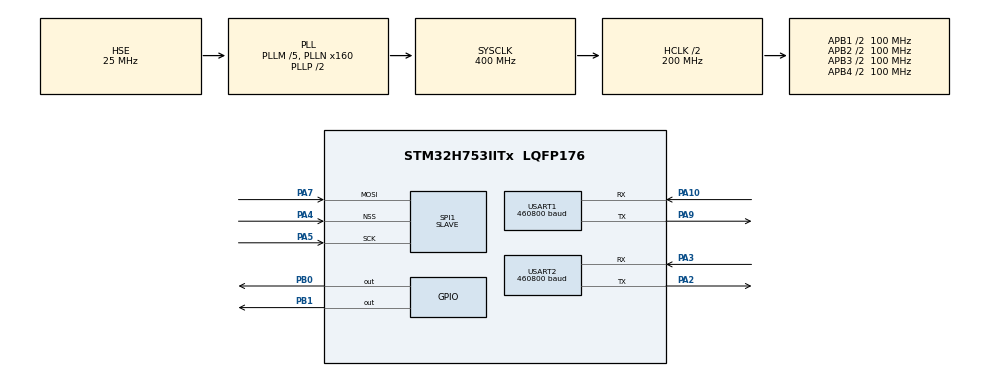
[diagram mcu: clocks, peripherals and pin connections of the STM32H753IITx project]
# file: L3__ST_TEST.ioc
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CORTEX_M7.AccessPermission_Spec=MPU_REGION_FULL_ACCESS
CORTEX_M7.BaseAddress_Spec=0x24000000
CORTEX_M7.CPU_DCache=Enabled
CORTEX_M7.CPU_ICache=Enabled
CORTEX_M7.IsShareable_Spec=MPU_ACCESS_NOT_SHAREABLE
CORTEX_M7.Size_Spec=MPU_REGION_SIZE_512KB
CORTEX_M7.SubRegionDisable_Spec=0x00
CORTEX_M7.TypeExtField_Spec=MPU_TEX_LEVEL1
CORTEX_M7.default_mode_Activation=1
Dma.Request0=USART2_RX
Dma.Request1=USART2_TX
Dma.Request2=USART1_RX
Dma.Request3=USART1_TX
Dma.Request4=SPI1_RX
Dma.SPI1_RX.4.Direction=DMA_PERIPH_TO_MEMORY
Dma.SPI1_RX.4.EventEnable=DISABLE
Dma.SPI1_RX.4.FIFOMode=DMA_FIFOMODE_DISABLE
Dma.SPI1_RX.4.Instance=DMA2_Stream0
Dma.SPI1_RX.4.MemDataAlignment=DMA_MDATAALIGN_BYTE
Dma.SPI1_RX.4.MemInc=DMA_MINC_ENABLE
Dma.SPI1_RX.4.Mode=DMA_NORMAL
Dma.SPI1_RX.4.PeriphDataAlignment=DMA_PDATAALIGN_BYTE
Dma.SPI1_RX.4.PeriphInc=DMA_PINC_DISABLE
Dma.SPI1_RX.4.Polarity=HAL_DMAMUX_REQ_GEN_RISING
Dma.SPI1_RX.4.Priority=DMA_PRIORITY_VERY_HIGH
Dma.SPI1_RX.4.RequestNumber=1
Dma.SPI1_RX.4.SignalID=NONE
Dma.SPI1_RX.4.SyncEnable=DISABLE
Dma.SPI1_RX.4.SyncPolarity=HAL_DMAMUX_SYNC_NO_EVENT
Dma.SPI1_RX.4.SyncRequestNumber=1
Dma.SPI1_RX.4.SyncSignalID=NONE
Dma.USART1_RX.2.Direction=DMA_PERIPH_TO_MEMORY
Dma.USART1_RX.2.EventEnable=DISABLE
Dma.USART1_RX.2.FIFOMode=DMA_FIFOMODE_DISABLE
Dma.USART1_RX.2.Instance=DMA1_Stream2
Dma.USART1_RX.2.MemDataAlignment=DMA_MDATAALIGN_BYTE
Dma.USART1_RX.2.MemInc=DMA_MINC_ENABLE
Dma.USART1_RX.2.Mode=DMA_NORMAL
Dma.USART1_RX.2.PeriphDataAlignment=DMA_PDATAALIGN_BYTE
Dma.USART1_RX.2.PeriphInc=DMA_PINC_DISABLE
Dma.USART1_RX.2.Polarity=HAL_DMAMUX_REQ_GEN_RISING
Dma.USART1_RX.2.Priority=DMA_PRIORITY_LOW
Dma.USART1_RX.2.RequestNumber=1
Dma.USART1_RX.2.SignalID=NONE
Dma.USART1_RX.2.SyncEnable=DISABLE
Dma.USART1_RX.2.SyncPolarity=HAL_DMAMUX_SYNC_NO_EVENT
Dma.USART1_RX.2.SyncRequestNumber=1
Dma.USART1_RX.2.SyncSignalID=NONE
Dma.USART1_TX.3.Direction=DMA_MEMORY_TO_PERIPH
Dma.USART1_TX.3.EventEnable=DISABLE
Dma.USART1_TX.3.FIFOMode=DMA_FIFOMODE_DISABLE
Dma.USART1_TX.3.Instance=DMA1_Stream3
Dma.USART1_TX.3.MemDataAlignment=DMA_MDATAALIGN_BYTE
Dma.USART1_TX.3.MemInc=DMA_MINC_ENABLE
Dma.USART1_TX.3.Mode=DMA_NORMAL
Dma.USART1_TX.3.PeriphDataAlignment=DMA_PDATAALIGN_BYTE
Dma.USART1_TX.3.PeriphInc=DMA_PINC_DISABLE
Dma.USART1_TX.3.Polarity=HAL_DMAMUX_REQ_GEN_RISING
Dma.USART1_TX.3.Priority=DMA_PRIORITY_LOW
Dma.USART1_TX.3.RequestNumber=1
Dma.USART1_TX.3.SignalID=NONE
Dma.USART1_TX.3.SyncEnable=DISABLE
Dma.USART1_TX.3.SyncPolarity=HAL_DMAMUX_SYNC_NO_EVENT
Dma.USART1_TX.3.SyncRequestNumber=1
Dma.USART1_TX.3.SyncSignalID=NONE
Dma.USART2_RX.0.Direction=DMA_PERIPH_TO_MEMORY
Dma.USART2_RX.0.EventEnable=DISABLE
Dma.USART2_RX.0.FIFOMode=DMA_FIFOMODE_DISABLE
Dma.USART2_RX.0.Instance=DMA1_Stream0
Dma.USART2_RX.0.MemDataAlignment=DMA_MDATAALIGN_BYTE
Dma.USART2_RX.0.MemInc=DMA_MINC_ENABLE
Dma.USART2_RX.0.Mode=DMA_NORMAL
Dma.USART2_RX.0.PeriphDataAlignment=DMA_PDATAALIGN_BYTE
Dma.USART2_RX.0.PeriphInc=DMA_PINC_DISABLE
Dma.USART2_RX.0.Polarity=HAL_DMAMUX_REQ_GEN_RISING
Dma.USART2_RX.0.Priority=DMA_PRIORITY_MEDIUM
Dma.USART2_RX.0.RequestNumber=1
Dma.USART2_RX.0.SignalID=NONE
Dma.USART2_RX.0.SyncEnable=DISABLE
Dma.USART2_RX.0.SyncPolarity=HAL_DMAMUX_SYNC_NO_EVENT
Dma.USART2_RX.0.SyncRequestNumber=1
Dma.USART2_RX.0.SyncSignalID=NONE
Dma.USART2_TX.1.Direction=DMA_MEMORY_TO_PERIPH
Dma.USART2_TX.1.EventEnable=DISABLE
Dma.USART2_TX.1.FIFOMode=DMA_FIFOMODE_DISABLE
Dma.USART2_TX.1.Instance=DMA1_Stream1
Dma.USART2_TX.1.MemDataAlignment=DMA_MDATAALIGN_BYTE
Dma.USART2_TX.1.MemInc=DMA_MINC_ENABLE
Dma.USART2_TX.1.Mode=DMA_NORMAL
Dma.USART2_TX.1.PeriphDataAlignment=DMA_PDATAALIGN_BYTE
Dma.USART2_TX.1.PeriphInc=DMA_PINC_DISABLE
Dma.USART2_TX.1.Polarity=HAL_DMAMUX_REQ_GEN_RISING
Dma.USART2_TX.1.Priority=DMA_PRIORITY_LOW
Dma.USART2_TX.1.RequestNumber=1
Dma.USART2_TX.1.SignalID=NONE
Dma.USART2_TX.1.SyncEnable=DISABLE
Dma.USART2_TX.1.SyncPolarity=HAL_DMAMUX_SYNC_NO_EVENT
Dma.USART2_TX.1.SyncRequestNumber=1
Dma.USART2_TX.1.SyncSignalID=NONE
FREERTOS.BinarySemaphores01=APP_Info_Submit_Semp,Dynamic,NULL
FREERTOS.Events01=Device_Run_status_event,Dynamic,NULL;Device_unusual_status_event,Dynamic,NULL
FREERTOS.INCLUDE_xEventGroupSetBitFromISR=1
FREERTOS.Queues01=usart2_send_semp_queue,15,uint16_t,0,Dynamic,NULL,NULL;usart2_recv_semp_queue,15,uint16_t,0,Dynamic,NULL,NULL;usart1_recv_semp_queue,15,uint16_t,0,Dynamic,NULL,NULL;usart1_send_semp_queue,15,uint16_t,0,Dynamic,NULL,NULL;HTTP_REQUEST_queue,16,uint16_t,0,Dynamic,NULL,NULL;SPI1_recv_semp_queue,15,uint16_t,0,Dynamic,NULL,NULL
FREERTOS.Tasks01=defaultTask,8,128,StartDefaultTask,Default,NULL,Dynamic,NULL,NULL;EC600U_REC,16,512,EC600U_REC_task,Default,NULL,Dynamic,NULL,NULL;APP_Info_Submit,8,512,APP_Info_Submit_task,Default,NULL,Dynamic,NULL,NULL;Device_Run,8,128,Device_Run_task,Default,NULL,Dynamic,NULL,NULL;EC600U_SEND,8,128,EC600U_SEND_task,Default,NULL,Dynamic,NULL,NULL;HTTP_REQUEST,24,256,HTTP_REQUEST_task,Default,NULL,Dynamic,NULL,NULL;Device_unusual,48,128,Device_unusual_task,Default,NULL,Dynamic,NULL,NULL;Power_Check,8,128,Power_Check_task,Default,NULL,Dynamic,NULL,NULL;GPS_REC,24,128,GPS_REC_task,Default,NULL,Dynamic,NULL,NULL;VCU_send,8,128,VCU_send_task,Default,NULL,Dynamic,NULL,NULL;VCU_REC,8,128,VCU_REC_task,Default,NULL,Dynamic,NULL,NULL
FREERTOS.configTOTAL_HEAP_SIZE=25600
FREERTOS.configUSE_OS2_MUTEX=1
FREERTOS.configUSE_OS2_TIMER=1
Mcu.Family=STM32H7
Mcu.Name=STM32H753IITx
Mcu.Package=LQFP176
NVIC.DMA1_Stream1_IRQn=true\:6\:0\:true\:false\:true\:true\:false\:true\:true
NVIC.DMA1_Stream3_IRQn=true\:6\:0\:true\:false\:true\:true\:true\:true\:true
NVIC.DMA2_Stream0_IRQn=true\:5\:0\:false\:false\:true\:true\:true\:true\:true
NVIC.PriorityGroup=NVIC_PRIORITYGROUP_4
NVIC.SPI1_IRQn=true\:5\:0\:true\:false\:true\:true\:true\:true\:true
NVIC.TIM6_DAC_IRQn=true\:14\:0\:true\:false\:true\:true\:true\:true\:true
NVIC.TIM7_IRQn=true\:15\:0\:false\:false\:true\:false\:false\:true\:true
NVIC.TimeBase=TIM7_IRQn
NVIC.TimeBaseIP=TIM7
NVIC.USART1_IRQn=true\:8\:0\:true\:false\:true\:true\:true\:true\:true
NVIC.USART2_IRQn=true\:8\:0\:true\:false\:true\:true\:true\:true\:true
PA10.GPIO_Speed=GPIO_SPEED_FREQ_VERY_HIGH
PA10.Mode=Asynchronous
PA10.Signal=USART1_RX
PA13\ (JTMS/SWDIO).Mode=Serial_Wire
PA13\ (JTMS/SWDIO).Signal=DEBUG_JTMS-SWDIO
PA14\ (JTCK/SWCLK).Mode=Serial_Wire
PA14\ (JTCK/SWCLK).Signal=DEBUG_JTCK-SWCLK
PA2.GPIO_Speed=GPIO_SPEED_FREQ_VERY_HIGH
PA2.Mode=Asynchronous
PA2.Signal=USART2_TX
PA3.GPIO_Speed=GPIO_SPEED_FREQ_VERY_HIGH
PA3.Mode=Asynchronous
PA3.Signal=USART2_RX
PA4.GPIO_Speed=GPIO_SPEED_FREQ_LOW
PA4.Mode=NSS_Signal_Hard_Input
PA4.Signal=SPI1_NSS
PA5.GPIO_Speed=GPIO_SPEED_FREQ_VERY_HIGH
PA5.Mode=RX_Only_Simplex_Unidirect_Slave
PA5.Signal=SPI1_SCK
PA7.GPIO_Speed=GPIO_SPEED_FREQ_VERY_HIGH
PA7.Mode=RX_Only_Simplex_Unidirect_Slave
PA7.Signal=SPI1_MOSI
PA9.GPIO_Speed=GPIO_SPEED_FREQ_VERY_HIGH
PA9.Mode=Asynchronous
PA9.Signal=USART1_TX
PB0.Signal=GPIO_Output
PB1.Signal=GPIO_Output
PC14-OSC32_IN\ (OSC32_IN).Mode=LSE-External-Oscillator
PC14-OSC32_IN\ (OSC32_IN).Signal=RCC_OSC32_IN
PC15-OSC32_OUT\ (OSC32_OUT).Mode=LSE-External-Oscillator
PC15-OSC32_OUT\ (OSC32_OUT).Signal=RCC_OSC32_OUT
PH0-OSC_IN\ (PH0).Mode=HSE-External-Oscillator
PH0-OSC_IN\ (PH0).Signal=RCC_OSC_IN
PH1-OSC_OUT\ (PH1).Mode=HSE-External-Oscillator
PH1-OSC_OUT\ (PH1).Signal=RCC_OSC_OUT
ProjectManager.HeapSize=0xC00
ProjectManager.StackSize=0x800
ProjectManager.TargetToolchain=MDK-ARM V5.32
RCC.ADCFreq_Value=50390625
RCC.APB1Freq_Value=100000000
RCC.APB2Freq_Value=100000000
RCC.APB3Freq_Value=100000000
RCC.APB4Freq_Value=100000000
RCC.CortexFreq_Value=400000000
RCC.D1PPRE=RCC_APB3_DIV2
RCC.D2PPRE1=RCC_APB1_DIV2
RCC.D2PPRE2=RCC_APB2_DIV2
RCC.D3PPRE=RCC_APB4_DIV2
RCC.DIVM1=5
RCC.DIVN1=160
RCC.DIVQ1=32
RCC.HCLKFreq_Value=200000000
RCC.HPRE=RCC_HCLK_DIV2
RCC.PLLSourceVirtual=RCC_PLLSOURCE_HSE
RCC.SYSCLKFreq_VALUE=400000000
RCC.SYSCLKSource=RCC_SYSCLKSOURCE_PLLCLK
RCC.USBFreq_Value=25000000
SPI1.DataSize=SPI_DATASIZE_8BIT
SPI1.Direction=SPI_DIRECTION_2LINES_RXONLY
SPI1.FifoThreshold=SPI_FIFO_THRESHOLD_16DATA
SPI1.Mode=SPI_MODE_SLAVE
SPI1.NSSPolarity=SPI_NSS_POLARITY_LOW
SPI1.TIMode=SPI_TIMODE_DISABLE
SPI1.VirtualNSS=VM_NSSHARD
SPI1.VirtualType=VM_SLAVE
TIM6.AutoReloadPreload=TIM_AUTORELOAD_PRELOAD_ENABLE
TIM6.Period=5000-1
TIM6.Prescaler=40000-1
USART1.BaudRate=460800
USART1.VirtualMode-Asynchronous=VM_ASYNC
USART2.BaudRate=460800
USART2.VirtualMode-Asynchronous=VM_ASYNC
VP_FREERTOS_VS_CMSIS_V2.Mode=CMSIS_V2
VP_SYS_VS_tim7.Mode=TIM7
VP_TIM6_VS_ClockSourceINT.Mode=Enable_Timer
board=custom

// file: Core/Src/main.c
/* USER CODE BEGIN Header */
/**
  ******************************************************************************
  * @file           : main.c
  * @brief          : Main program body
  ******************************************************************************
  * @attention
  *
  * Copyright (c) 2024 STMicroelectronics.
  * All rights reserved.
  *
  * This software is licensed under terms that can be found in the LICENSE file
  * in the root directory of this software component.
  * If no LICENSE file comes with this software, it is provided AS-IS.
  *
  ******************************************************************************
  */
/* USER CODE END Header */
#include "main.h"
#include "cmsis_os.h"
#include "dma.h"
#include "spi.h"
#include "tim.h"
#include "usart.h"
#include "gpio.h"

/* USER CODE BEGIN Includes */

#include "EventRecorder.h"
#include <stdio.h>
#include <string.h>
#include <stdlib.h>

#include "WGS84ToAngle.h"
#include "pid.h"
/* USER CODE END Includes */

void SystemClock_Config(void);
static void MPU_Config(void);
void MX_FREERTOS_Init(void);
/* USER CODE BEGIN PFP */
extern osSemaphoreId_t APP_Info_Submit_SempHandle;
extern PID_TypeDef PID_angle_control;
/* USER CODE END PFP */

int main(void)
{

  /* MPU Configuration--------------------------------------------------------*/
  MPU_Config();
/* Enable the CPU Cache */

  /* Enable I-Cache---------------------------------------------------------*/
  SCB_EnableICache();

  /* Enable D-Cache---------------------------------------------------------*/
  SCB_EnableDCache();

  /* MCU Configuration--------------------------------------------------------*/

  /* Reset of all peripherals, Initializes the Flash interface and the Systick. */
  HAL_Init();

  /* Configure the system clock */
  SystemClock_Config();

  /* USER CODE BEGIN SysInit */

	/*初始化EventRecoder*/
	EventRecorderInitialize(EventRecordAll, 1U);
	EventRecorderStart();

	/*初始化cjson的内存分配函数 使用json一定要初始化*/
	cJSON_InitHooks(&my_cJSON_Hooks);

	/*初始化geidesic库系数*/
	geod_init(&g, wgs84_a, wgs84_f);

	/*初始化PID*/
	PID_Init(&PID_angle_control);
  /* USER CODE END SysInit */

  /* Initialize all configured peripherals */
  MX_GPIO_Init();
  MX_DMA_Init();
  MX_USART2_UART_Init();
  MX_TIM6_Init();
  MX_USART1_UART_Init();
  MX_SPI1_Init();
  /* USER CODE BEGIN 2 */
	printf("此版本为RTK_L3测试\r\n");
	printf("目前进行到开机RTK_L1开机测试\r\n");
	printf("此处打印为了告知信息和启动EventREcoder打印调试\r\n");
	printf("接下来开始");
  /* USER CODE END 2 */

  /* Init scheduler */
  osKernelInitialize();

  /* Call init function for freertos objects (in freertos.c) */
  MX_FREERTOS_Init();

  /* Start scheduler */
  osKernelStart();

  /* We should never get here as control is now taken by the scheduler */
  /* Infinite loop */
  while (1)
  {

  }
}

void SystemClock_Config(void)
{
  RCC_OscInitTypeDef RCC_OscInitStruct = {0};
  RCC_ClkInitTypeDef RCC_ClkInitStruct = {0};

  /** Supply configuration update enable
  */
  HAL_PWREx_ConfigSupply(PWR_LDO_SUPPLY);

  /** Configure the main internal regulator output voltage
  */
  __HAL_PWR_VOLTAGESCALING_CONFIG(PWR_REGULATOR_VOLTAGE_SCALE1);

  while(!__HAL_PWR_GET_FLAG(PWR_FLAG_VOSRDY)) {}

  /** Initializes the RCC Oscillators according to the specified parameters
  * in the RCC_OscInitTypeDef structure.
  */
  RCC_OscInitStruct.OscillatorType = RCC_OSCILLATORTYPE_HSE;
  RCC_OscInitStruct.HSEState = RCC_HSE_ON;
  RCC_OscInitStruct.PLL.PLLState = RCC_PLL_ON;
  RCC_OscInitStruct.PLL.PLLSource = RCC_PLLSOURCE_HSE;
  RCC_OscInitStruct.PLL.PLLM = 5;
  RCC_OscInitStruct.PLL.PLLN = 160;
  RCC_OscInitStruct.PLL.PLLP = 2;
  RCC_OscInitStruct.PLL.PLLQ = 32;
  RCC_OscInitStruct.PLL.PLLR = 2;
  RCC_OscInitStruct.PLL.PLLRGE = RCC_PLL1VCIRANGE_2;
  RCC_OscInitStruct.PLL.PLLVCOSEL = RCC_PLL1VCOWIDE;
  RCC_OscInitStruct.PLL.PLLFRACN = 0;
  if (HAL_RCC_OscConfig(&RCC_OscInitStruct) != HAL_OK)
  {
    Error_Handler();
  }

  /** Initializes the CPU, AHB and APB buses clocks
  */
  RCC_ClkInitStruct.ClockType = RCC_CLOCKTYPE_HCLK|RCC_CLOCKTYPE_SYSCLK
                              |RCC_CLOCKTYPE_PCLK1|RCC_CLOCKTYPE_PCLK2
                              |RCC_CLOCKTYPE_D3PCLK1|RCC_CLOCKTYPE_D1PCLK1;
  RCC_ClkInitStruct.SYSCLKSource = RCC_SYSCLKSOURCE_PLLCLK;
  RCC_ClkInitStruct.SYSCLKDivider = RCC_SYSCLK_DIV1;
  RCC_ClkInitStruct.AHBCLKDivider = RCC_HCLK_DIV2;
  RCC_ClkInitStruct.APB3CLKDivider = RCC_APB3_DIV2;
  RCC_ClkInitStruct.APB1CLKDivider = RCC_APB1_DIV2;
  RCC_ClkInitStruct.APB2CLKDivider = RCC_APB2_DIV2;
  RCC_ClkInitStruct.APB4CLKDivider = RCC_APB4_DIV2;

  if (HAL_RCC_ClockConfig(&RCC_ClkInitStruct, FLASH_LATENCY_2) != HAL_OK)
  {
    Error_Handler();
  }
}

/* MPU Configuration */

void MPU_Config(void)
{
  MPU_Region_InitTypeDef MPU_InitStruct = {0};

  /* Disables the MPU */
  HAL_MPU_Disable();

  /** Initializes and configures the Region and the memory to be protected
  */
  MPU_InitStruct.Enable = MPU_REGION_ENABLE;
  MPU_InitStruct.Number = MPU_REGION_NUMBER0;
  MPU_InitStruct.BaseAddress = 0x24000000;
  MPU_InitStruct.Size = MPU_REGION_SIZE_512KB;
  MPU_InitStruct.SubRegionDisable = 0x00;
  MPU_InitStruct.TypeExtField = MPU_TEX_LEVEL1;
  MPU_InitStruct.AccessPermission = MPU_REGION_FULL_ACCESS;
  MPU_InitStruct.DisableExec = MPU_INSTRUCTION_ACCESS_DISABLE;
  MPU_InitStruct.IsShareable = MPU_ACCESS_NOT_SHAREABLE;
  MPU_InitStruct.IsCacheable = MPU_ACCESS_NOT_CACHEABLE;
  MPU_InitStruct.IsBufferable = MPU_ACCESS_NOT_BUFFERABLE;

  HAL_MPU_ConfigRegion(&MPU_InitStruct);
  /* Enables the MPU */
  HAL_MPU_Enable(MPU_PRIVILEGED_DEFAULT);

}

void HAL_TIM_PeriodElapsedCallback(TIM_HandleTypeDef *htim)
{
  if (htim->Instance == TIM7) {
    HAL_IncTick();
  }
  /* USER CODE BEGIN Callback 1 */
  if (htim->Instance == TIM6) {
		if(osSemaphoreGetCount (APP_Info_Submit_SempHandle)<1) osSemaphoreRelease(APP_Info_Submit_SempHandle);
	}
  /* USER CODE END Callback 1 */
}

void Error_Handler(void)
{
  __disable_irq();
  while (1)
  {
  }
}

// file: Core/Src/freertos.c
/* USER CODE BEGIN Header */
/**
  ******************************************************************************
  * File Name          : freertos.c
  * Description        : Code for freertos applications
  ******************************************************************************
  * @attention
  *
  * Copyright (c) 2024 STMicroelectronics.
  * All rights reserved.
  *
  * This software is licensed under terms that can be found in the LICENSE file
  * in the root directory of this software component.
  * If no LICENSE file comes with this software, it is provided AS-IS.
  *
  ******************************************************************************
  */
/* USER CODE END Header */

#include "FreeRTOS.h"
#include "task.h"
#include "main.h"
#include "cmsis_os.h"

/* USER CODE BEGIN Includes */
#include "usart.h"
#include "spi.h"
#include "deal_data.h"
#include "nav.h"
#include "WGS84ToAngle.h"

extern TIM_HandleTypeDef htim6;
/* USER CODE END Includes */

/* USER CODE BEGIN PTD */
cJSON * EC600U_MQTT_SEND_STATUS;
cJSON * EC600U_HTTP_jobPause;
cJSON * EC600U_HTTP_updateRoute;

uint32_t GPS_REC_block_time    = portMAX_DELAY;
uint32_t EC600U_REC_block_time = portMAX_DELAY;
uint32_t APP_Info_Submit_time  = portMAX_DELAY;
uint32_t Device_unusual_time   = portMAX_DELAY;
Device_Poweron_status_t Device_Poweron_status = Check_poweron;

Change_Status_t Device_Run_Status =
{
	Poweron,
	Poweron,
	Job_Wait
};

extern uint8_t request_num;

/* USER CODE END PTD */

/* USER CODE BEGIN PD */
 const uint32_t BIT_0 =	( 1 << 0 );
 const uint32_t BIT_1	= ( 1 << 1 );
 const uint32_t BIT_2	= ( 1 << 2 );
 const uint32_t BIT_3	= ( 1 << 3 );
 const uint32_t BIT_4	= ( 1 << 4 );
 const uint32_t BIT_5	= ( 1 << 5 );
 const uint32_t BIT_6	= ( 1 << 6 );
 const uint32_t BIT_7	= ( 1 << 7 );
 const uint32_t BIT_8	= ( 1 << 8 );
 const uint32_t BIT_9	= ( 1 << 9 );
 const uint32_t BIT_10=	( 1 << 10 );
 const uint32_t BIT_11= ( 1 << 11 );
 const uint32_t BIT_12=	( 1 << 12 );
 const uint32_t BIT_13=	( 1 << 13 );
 const uint32_t BIT_14=	( 1 << 14 );
 const uint32_t BIT_15=	( 1 << 15 );
 const uint32_t BIT_16=	( 1 << 16 );
 const uint32_t BIT_17=	( 1 << 17 );
 const uint32_t BIT_18=	( 1 << 18 );
 const uint32_t BIT_19=	( 1 << 19 );
 const uint32_t BIT_20=	( 1 << 20 );
 const uint32_t BIT_21=	( 1 << 21 );
 const uint32_t BIT_22=	( 1 << 22 );
 const uint32_t BIT_23=	( 1 << 23 );
/* USER CODE END PD */

/* Definitions for defaultTask */
osThreadId_t defaultTaskHandle;
const osThreadAttr_t defaultTask_attributes = {
  .name = "defaultTask",
  .stack_size = 128 * 4,
  .priority = (osPriority_t) osPriorityLow,
};
/* Definitions for EC600U_REC */
osThreadId_t EC600U_RECHandle;
const osThreadAttr_t EC600U_REC_attributes = {
  .name = "EC600U_REC",
  .stack_size = 512 * 4,
  .priority = (osPriority_t) osPriorityBelowNormal,
};
/* Definitions for APP_Info_Submit */
osThreadId_t APP_Info_SubmitHandle;
const osThreadAttr_t APP_Info_Submit_attributes = {
  .name = "APP_Info_Submit",
  .stack_size = 512 * 4,
  .priority = (osPriority_t) osPriorityLow,
};
/* Definitions for Device_Run */
osThreadId_t Device_RunHandle;
const osThreadAttr_t Device_Run_attributes = {
  .name = "Device_Run",
  .stack_size = 1024 * 4,
  .priority = (osPriority_t) osPriorityLow,
};
/* Definitions for EC600U_SEND */
osThreadId_t EC600U_SENDHandle;
const osThreadAttr_t EC600U_SEND_attributes = {
  .name = "EC600U_SEND",
  .stack_size = 128 * 4,
  .priority = (osPriority_t) osPriorityLow,
};
/* Definitions for HTTP_REQUEST */
osThreadId_t HTTP_REQUESTHandle;
const osThreadAttr_t HTTP_REQUEST_attributes = {
  .name = "HTTP_REQUEST",
  .stack_size = 256 * 4,
  .priority = (osPriority_t) osPriorityNormal,
};
/* Definitions for Device_unusual */
osThreadId_t Device_unusualHandle;
const osThreadAttr_t Device_unusual_attributes = {
  .name = "Device_unusual",
  .stack_size = 128 * 4,
  .priority = (osPriority_t) osPriorityRealtime,
};
/* Definitions for Power_Check */
osThreadId_t Power_CheckHandle;
const osThreadAttr_t Power_Check_attributes = {
  .name = "Power_Check",
  .stack_size = 128 * 4,
  .priority = (osPriority_t) osPriorityLow,
};
/* Definitions for GPS_REC */
osThreadId_t GPS_RECHandle;
const osThreadAttr_t GPS_REC_attributes = {
  .name = "GPS_REC",
  .stack_size = 128 * 4,
  .priority = (osPriority_t) osPriorityNormal,
};
/* Definitions for VCU_send */
osThreadId_t VCU_sendHandle;
const osThreadAttr_t VCU_send_attributes = {
  .name = "VCU_send",
  .stack_size = 128 * 4,
  .priority = (osPriority_t) osPriorityLow,
};
/* Definitions for VCU_REC */
osThreadId_t VCU_RECHandle;
const osThreadAttr_t VCU_REC_attributes = {
  .name = "VCU_REC",
  .stack_size = 128 * 4,
  .priority = (osPriority_t) osPriorityLow,
};
/* Definitions for usart2_send_semp_queue */
osMessageQueueId_t usart2_send_semp_queueHandle;
const osMessageQueueAttr_t usart2_send_semp_queue_attributes = {
  .name = "usart2_send_semp_queue"
};
/* Definitions for usart2_recv_semp_queue */
osMessageQueueId_t usart2_recv_semp_queueHandle;
const osMessageQueueAttr_t usart2_recv_semp_queue_attributes = {
  .name = "usart2_recv_semp_queue"
};
/* Definitions for usart1_recv_semp_queue */
osMessageQueueId_t usart1_recv_semp_queueHandle;
const osMessageQueueAttr_t usart1_recv_semp_queue_attributes = {
  .name = "usart1_recv_semp_queue"
};
/* Definitions for usart1_send_semp_queue */
osMessageQueueId_t usart1_send_semp_queueHandle;
const osMessageQueueAttr_t usart1_send_semp_queue_attributes = {
  .name = "usart1_send_semp_queue"
};
/* Definitions for HTTP_REQUEST_queue */
osMessageQueueId_t HTTP_REQUEST_queueHandle;
const osMessageQueueAttr_t HTTP_REQUEST_queue_attributes = {
  .name = "HTTP_REQUEST_queue"
};
/* Definitions for SPI1_recv_semp_queue */
osMessageQueueId_t SPI1_recv_semp_queueHandle;
const osMessageQueueAttr_t SPI1_recv_semp_queue_attributes = {
  .name = "SPI1_recv_semp_queue"
};
/* Definitions for APP_Info_Submit_Semp */
osSemaphoreId_t APP_Info_Submit_SempHandle;
const osSemaphoreAttr_t APP_Info_Submit_Semp_attributes = {
  .name = "APP_Info_Submit_Semp"
};
/* Definitions for Device_Run_status_event */
osEventFlagsId_t Device_Run_status_eventHandle;
const osEventFlagsAttr_t Device_Run_status_event_attributes = {
  .name = "Device_Run_status_event"
};
/* Definitions for Device_unusual_status_event */
osEventFlagsId_t Device_unusual_status_eventHandle;
const osEventFlagsAttr_t Device_unusual_status_event_attributes = {
  .name = "Device_unusual_status_event"
};

void StartDefaultTask(void *argument);
void EC600U_REC_task(void *argument);
void APP_Info_Submit_task(void *argument);
void Device_Run_task(void *argument);
void EC600U_SEND_task(void *argument);
void HTTP_REQUEST_task(void *argument);
void Device_unusual_task(void *argument);
void Power_Check_task(void *argument);
void GPS_REC_task(void *argument);
void VCU_send_task(void *argument);
void VCU_REC_task(void *argument);

void MX_FREERTOS_Init(void); /* (MISRA C 2004 rule 8.1) */

void MX_FREERTOS_Init(void) {

  /* Create the semaphores(s) */
  /* creation of APP_Info_Submit_Semp */
  APP_Info_Submit_SempHandle = osSemaphoreNew(1, 0, &APP_Info_Submit_Semp_attributes);

  /* Create the queue(s) */
  /* creation of usart2_send_semp_queue */
  usart2_send_semp_queueHandle = osMessageQueueNew (15, sizeof(uint16_t), &usart2_send_semp_queue_attributes);

  /* creation of usart2_recv_semp_queue */
  usart2_recv_semp_queueHandle = osMessageQueueNew (15, sizeof(uint16_t), &usart2_recv_semp_queue_attributes);

  /* creation of usart1_recv_semp_queue */
  usart1_recv_semp_queueHandle = osMessageQueueNew (15, sizeof(uint16_t), &usart1_recv_semp_queue_attributes);

  /* creation of usart1_send_semp_queue */
  usart1_send_semp_queueHandle = osMessageQueueNew (15, sizeof(uint16_t), &usart1_send_semp_queue_attributes);

  /* creation of HTTP_REQUEST_queue */
  HTTP_REQUEST_queueHandle = osMessageQueueNew (16, sizeof(uint16_t), &HTTP_REQUEST_queue_attributes);

  /* creation of SPI1_recv_semp_queue */
  SPI1_recv_semp_queueHandle = osMessageQueueNew (15, sizeof(uint16_t), &SPI1_recv_semp_queue_attributes);

  /* Create the thread(s) */
  /* creation of defaultTask */
  defaultTaskHandle = osThreadNew(StartDefaultTask, NULL, &defaultTask_attributes);

  /* creation of EC600U_REC */
  EC600U_RECHandle = osThreadNew(EC600U_REC_task, NULL, &EC600U_REC_attributes);

  /* creation of APP_Info_Submit */
  APP_Info_SubmitHandle = osThreadNew(APP_Info_Submit_task, NULL, &APP_Info_Submit_attributes);

  /* creation of Device_Run */
  Device_RunHandle = osThreadNew(Device_Run_task, NULL, &Device_Run_attributes);

  /* creation of EC600U_SEND */
  EC600U_SENDHandle = osThreadNew(EC600U_SEND_task, NULL, &EC600U_SEND_attributes);

  /* creation of HTTP_REQUEST */
  HTTP_REQUESTHandle = osThreadNew(HTTP_REQUEST_task, NULL, &HTTP_REQUEST_attributes);

  /* creation of Device_unusual */
  Device_unusualHandle = osThreadNew(Device_unusual_task, NULL, &Device_unusual_attributes);

  /* creation of Power_Check */
  Power_CheckHandle = osThreadNew(Power_Check_task, NULL, &Power_Check_attributes);

  /* creation of GPS_REC */
  GPS_RECHandle = osThreadNew(GPS_REC_task, NULL, &GPS_REC_attributes);

  /* creation of VCU_send */
  VCU_sendHandle = osThreadNew(VCU_send_task, NULL, &VCU_send_attributes);

  /* creation of VCU_REC */
  VCU_RECHandle = osThreadNew(VCU_REC_task, NULL, &VCU_REC_attributes);

  /* Create the event(s) */
  /* creation of Device_Run_status_event */
  Device_Run_status_eventHandle = osEventFlagsNew(&Device_Run_status_event_attributes);

  /* creation of Device_unusual_status_event */
  Device_unusual_status_eventHandle = osEventFlagsNew(&Device_unusual_status_event_attributes);

}

void StartDefaultTask(void *argument)
{
  /* USER CODE BEGIN StartDefaultTask */
  /* Infinite loop */
  for(;;)
  {
//		usart2_send_data_apply("usart2_ok\r\n",11);
//		osDelay(2000);
//		cJSON* test = Json_data_Change(EC600U_MQTT_SEND_STATUS,"%f%s%s",1.1,"property","lat");
//		printf("%f",test->valuedouble);
		/*需要的内存很大，建议1024*/
//		WGS84_axis_t Start_To_Distance_Angle	= GPStoXY(125,43,126,44);
//		printf("%f,%f,%f\r\n",Start_To_Distance_Angle.s12,Start_To_Distance_Angle.azi1,Start_To_Distance_Angle.azi2);

		HAL_GPIO_TogglePin(GPIOB,GPIO_PIN_1);
		osDelay(1000);
  }
  /* USER CODE END StartDefaultTask */
}

void EC600U_REC_task(void *argument)
{
  /* USER CODE BEGIN EC600U_REC_task */
	osStatus_t err;
	uint16_t Recv_Len;
	//开启串口空闲DMA空闲中断
	HAL_UARTEx_ReceiveToIdle_DMA(&huart1, USART1RxData[UART1_fifo.usRxWrite],USART1_Max_Rxbuf_size);
  /* Infinite loop */
  for(;;)
  {
		err = osMessageQueueGet (usart1_recv_semp_queueHandle, &Recv_Len, 0, EC600U_REC_block_time);
		if(err == osOK)
		{
			if(Recv_Len != 0) //说明串口发送来的数据
			{
//				printf("%s\r\n",USART1RxData[UART1_fifo.usRxRead]);
				usart1_rec_data_apply(USART1RxData[UART1_fifo.usRxRead],Recv_Len);

				memset(USART1RxData[UART1_fifo.usRxRead],0,Recv_Len);
				if (++UART1_fifo.usRxRead >= UART1_fifo.usRxBufSize)
				{
					UART1_fifo.usRxRead = 0;
				}
			}
			else  //说明只是为了来解除阻塞，以此判断是否超时
				printf("解除阻塞\r\n");
		}
		else // 超时处理
		{
			if(Device_Run_Status.Curstatus == Poweron) //开机过程回复超时
			{
				if(Device_Poweron_status == Check_poweron)
				{
					printf("4G模块上电失败");
					osEventFlagsClear(Device_Run_status_eventHandle,BIT_1);                //设置4G模块上电失败标志
					EC600U_REC_block_time = portMAX_DELAY;
				}
				else if(Device_Poweron_status == Check_Authen)
				{
					if((osEventFlagsGet(Device_Run_status_eventHandle) & BIT_3) != 0)    //网络好时请求HTTP超时，进行重复请求，网络不好时继续等待，等待网络良好时再进行操作
					{
						if(request_num <= 5)
						{
							printf("HTTP鉴权请求失败\r\n");
							osMessageQueuePut(HTTP_REQUEST_queueHandle, &BIT_0 , 0 ,10);
							request_num ++;
						}
						else
						{
							printf("鉴权失败");
							osEventFlagsClear(Device_Run_status_eventHandle,BIT_3);                //设置鉴权失败标志
							EC600U_REC_block_time = portMAX_DELAY;
						}
					}
				}
				else if(Device_Poweron_status == Check_MQTT_APP)
				{
					printf("接受MQTT信息失败");
					osEventFlagsClear(Device_Run_status_eventHandle,BIT_6);                //设置RTK消息丢失标志
				}
			}
		}
  }
  /* USER CODE END EC600U_REC_task */
}

void APP_Info_Submit_task(void *argument)
{
  /* USER CODE BEGIN APP_Info_Submit_task */
	osStatus_t err;
	EC600U_MQTT_SEND_STATUS = StringToObject(DEVICE_MQTT_STATUS);
  /* Infinite loop */
  for(;;)
  {
		err = osSemaphoreAcquire (APP_Info_Submit_SempHandle, APP_Info_Submit_time);
		if(err == osOK)
		{
			if((osEventFlagsGet(Device_Run_status_eventHandle) & BIT_6) != 0)
			{
				APP_Info_Submit();
			}
		}
		else
		{
			APP_Info_Submit_time  = portMAX_DELAY;
			//刚开始接受到gps数据，不稳定，等待一段时间后再开启上传
			HAL_TIM_Base_Start_IT(&htim6);                             //MQTT_APP打开成功并接收到GPS数据，开启APP信息上报
		}
  }
  /* USER CODE END APP_Info_Submit_task */
}

void Device_Run_task(void *argument)
{
  /* USER CODE BEGIN Device_Run_task */
	uint32_t uxBits;
  /* Infinite loop */
  for(;;)
  {
		uxBits = osEventFlagsWait(Device_Run_status_eventHandle,  BIT_1 | BIT_3 |BIT_4 | BIT_23,osFlagsWaitAll | osFlagsNoClear, portMAX_DELAY); //还有bit0暂时先不加入BIT_0 |

		if( (uxBits & ( BIT_1 | BIT_3 | BIT_4 | BIT_23))  == ( BIT_1 | BIT_3 | BIT_4 | BIT_23)) //是否满足启动的条件
		{
			if(Device_Run_Status.Curstatus == Job_Working)                                                      //是否完成了可工作的准备
			{
				/*说明未完成本次航线*/
				if(NAV_Control() < 1)
				{
					/*给信息上报全局变量赋值*/
				}
				/*完成此次航线进行下一个航线的获取*/
				else
				{
					/*给信息上报全局变量赋值*/
				}
				HAL_GPIO_TogglePin(GPIOB,GPIO_PIN_0);
//				osDelay(1000);
			}
		}
  }
  /* USER CODE END Device_Run_task */
}

void EC600U_SEND_task(void *argument)
{
  /* USER CODE BEGIN EC600U_SEND_task */
	osStatus_t err;
	uint16_t Send_Len;
  /* Infinite loop */
  for(;;)
  {
		err = osMessageQueueGet (usart1_send_semp_queueHandle, &Send_Len, 0, portMAX_DELAY);
		if(err == osOK)
		{
			HAL_UART_Transmit_DMA(&huart1,USART1TxData[UART1_fifo.usTxRead],Send_Len );
			if (++UART1_fifo.usTxRead >= UART1_fifo.usTxBufSize)
			{
				UART1_fifo.usTxRead = 0;
			}
			osDelay(100);
		}
  }
  /* USER CODE END EC600U_SEND_task */
}

void HTTP_REQUEST_task(void *argument)
{
  /* USER CODE BEGIN HTTP_REQUEST_task */
	uint32_t Device_Run_Bits;
	uint32_t uxBits;
	osStatus_t err;
	EC600U_HTTP_updateRoute = StringToObject(Update_Route_param);
	EC600U_HTTP_jobPause    = StringToObject(Pause_param);
  /* Infinite loop */
  for(;;)
  {
		Device_Run_Bits = osEventFlagsWait(Device_Run_status_eventHandle,BIT_2,osFlagsNoClear, portMAX_DELAY);
		err = osMessageQueueGet (HTTP_REQUEST_queueHandle, &uxBits, 0, portMAX_DELAY);
		if(err == osOK)
		{
			if((Device_Run_Bits & BIT_2)  != 0)
			{
				/*鉴权指令*/
				if( (uxBits & BIT_0)  != 0 )
				{
					HTTP_Authen_Request();
				}
				/*开始作业指令*/
				else if((uxBits & BIT_1)  != 0)
				{
					HTTP_jobStart_Request();
				}
				/*暂停作业指令*/
				else if((uxBits & BIT_2)  != 0)
				{
					HTTP_jobPause_Request();
				}
				/*继续作业指令*/
				else if((uxBits & BIT_3)  != 0)
				{
					HTTP_jobContinue_Request();
				}
				/*任务完成指令*/
				else if((uxBits & BIT_4)  != 0)
				{
					HTTP_jobFinish_Request();
				}
				/*获取分段航点指令*/
				else if((uxBits & BIT_5)  != 0)
				{
					HTTP_updateRoute_Request();
				}
				/*获取充电桩位置指令*/
				else if((uxBits & BIT_6)  != 0)
				{
					HTTP_goToCharge_Request();
				}
			}
		}
//    osDelay(1);
  }
  /* USER CODE END HTTP_REQUEST_task */
}

void Device_unusual_task(void *argument)
{
  /* USER CODE BEGIN Device_unusual_task */
	uint32_t uxBits;
  /* Infinite loop */
  for(;;)
  {
		uxBits = osEventFlagsWait(Device_unusual_status_eventHandle, BIT_0 | BIT_1 ,osFlagsWaitAny, Device_unusual_time);
		if( (uxBits & BIT_0)  != 0 )               //强制停止
		{
			osEventFlagsClear(Device_Run_status_eventHandle,BIT_23);                //不可启动
			HAL_GPIO_TogglePin(GPIOB,GPIO_PIN_0);
			osDelay(1000);
		}
		else if( (uxBits & BIT_1)  != 0 )          //状态变化
		{
			if(Device_Run_Status.Curstatus == Job_Wait) // 如果是等待阶段转换为工作阶段
			{
				/*先将从http拿到的航点进行分割*/
				waypoints_Parse(HTTP_Task_Msg.waypoints,",");
				/*设置当前状态*/
				Device_Run_Status.Prestatus = Device_Run_Status.Curstatus;
				Device_Run_Status.Curstatus = Device_Run_Status.Alterstatus;
				/*设置第23位让设备可以启动*/
				osEventFlagsSet(Device_Run_status_eventHandle,BIT_23);

			}
			else if(Device_Run_Status.Curstatus == Job_Working) //工作阶段转换为 或任务暂停 或任务完成 或障碍物阻塞
			{

			}
			else
			{

			}

		}
		else if( (uxBits & BIT_2)  != 0 )          //RTK失去信号
		{
			osEventFlagsClear(Device_Run_status_eventHandle,BIT_23);                //不可启动
		}
		else //如果超时
		{
			osEventFlagsSet(Device_Run_status_eventHandle,BIT_23);                //转变为启动
		}
//    osDelay(1);
  }
  /* USER CODE END Device_unusual_task */
}

/* USER CODE BEGIN Header_Power_Check_task */
/**
*        电池信息的持续获取,如果一定时间未能获取电池信息，则宣布无电
* @brief Function implementing the Power_Check thread.
* @param argument: Not used
* @retval None
*/
/* USER CODE END Header_Power_Check_task */
void Power_Check_task(void *argument)
{
  /* USER CODE BEGIN Power_Check_task */
//	osStatus_t err;
//	uint8_t  run_num = 0;
//	uint32_t len = 0;
  /* Infinite loop */
  for(;;)
  {
//		err = osMessageQueueGet (usart2_recv_semp_queueHandle, &len, 0, portMAX_DELAY); //调试阶段未使用，正式阶段将阻塞时间设置为1000 暂时使用串口二
//		if(err == osOK)
//		{
//			/*如果电量充足*/
//			if(len <= 100 && len>30)
//			{
//				if(run_num != 0) continue;
//				osEventFlagsSet(Device_Run_status_eventHandle,BIT_0);                 //设置电量充足标志位
//				/*打开EC600U上电*/
//				/*打开GPS上电*/
//				EC600U_REC_block_time = 1000;                                         //判断4G模块是否上电超时
//				osMessageQueuePut(usart1_recv_semp_queueHandle,&len,0,10);
//				run_num = 1;
//			}
//			/*如果电量欠佳*/
//			else if(len<=30 && len >20)
//			{
//				/*如果在开机自检阶段没电*/
//				if(Device_Run_Status.Curstatus == Poweron)
//				{
//					if(run_num != 0) continue;
//					printf("马上没电了,启动但不建议\r\n");
//					osEventFlagsSet(Device_Run_status_eventHandle,BIT_0);                 //设置电量充足标志位
//
//					/*打开EC600U上电*/
//					/*打开GPS上电*/
//					EC600U_REC_block_time = 1000;                                         //判断4G模块是否上电超时
//					osMessageQueuePut(usart1_recv_semp_queueHandle,&len,0,10);
//					run_num = 1;
//				}
//				/*在正在作业或者作业完成或者遇到障碍物停止等情况没电，马上返航*/
//				else if(Device_Run_Status.Curstatus == Job_Working || Device_Run_Status.Curstatus == Job_Wait || Device_Run_Status.Curstatus == Job_Block)
//				{
//					printf("马上没电了,开始返航\r\n");
//					/*设置返航状态*/
//					osEventFlagsSet(Device_unusual_status_eventHandle,BIT_1);              //转变状态
//				}
//				else if(Device_Run_Status.Curstatus == Job_Return)
//				{
//					printf("马上没电了,正在返航\r\n");
//				}
//				else //任务完成 不做处理
//				{
//
//				}
//			}
//			/*没有电了进行强制停止*/
//			else
//			{
//				osEventFlagsClear(Device_Run_status_eventHandle,BIT_0);                //设置电量没电标志位
//				osEventFlagsSet(Device_unusual_status_eventHandle,BIT_0);              //强制停止
//			}
//		}
//		else                                                                      //超时则宣布无电 强制停止
//		{
//			osEventFlagsClear(Device_Run_status_eventHandle,BIT_0);               	//设置电量没电标志位
//			osEventFlagsSet(Device_unusual_status_eventHandle,BIT_0);              //强制停止
//		}
    osDelay(1000);
  }
  /* USER CODE END Power_Check_task */
}

void GPS_REC_task(void *argument)
{
  /* USER CODE BEGIN GPS_REC_task */
	osStatus_t err;
	uint32_t len = 0;
	HAL_SPI_Receive_DMA(&hspi1 , SPI1RxData[SPI1_fifo.usRxWrite] ,180 );
  /* Infinite loop */
  for(;;)
  {
		err = osMessageQueueGet (SPI1_recv_semp_queueHandle, &len, 0, GPS_REC_block_time); //调试阶段未使用，正式阶段将阻塞时间设置为1000
		if(err == osOK)
		{
			if(len != 0)
			{
//				printf("%s\r\n",SPI1RxData[SPI1_fifo.usRxRead]);

				SPI1_GPS_data(SPI1RxData[SPI1_fifo.usRxRead]);

				memset(SPI1RxData[SPI1_fifo.usRxRead],0,SPI1_Max_Rxbuf_size);
				if (++SPI1_fifo.usRxRead >= SPI1_fifo.usRxBufSize)
				{
					SPI1_fifo.usRxRead = 0;
				}
			}
			else  //说明只是为了来解除阻塞，以此判断是否超时
				printf("解除阻塞\r\n");
		}
		else
		{
//			if(Device_Poweron_status == Check_RTK || Device_Run_Status.Curstatus != Poweron)
//			{
				printf("接受RTK信息失败\r\n");
//				HAL_TIM_Base_Stop_IT(&htim6);
				osEventFlagsClear(Device_Run_status_eventHandle,BIT_4);                //设置RTK消息丢失标志
				osEventFlagsClear(Device_Run_status_eventHandle,BIT_5);                //设置RTK消息丢失标志
				osEventFlagsSet(Device_unusual_status_eventHandle,BIT_2);              //触发异常
//			}
		}
//    osDelay(1);
  }
  /* USER CODE END GPS_REC_task */
}

void VCU_send_task(void *argument)
{
  /* USER CODE BEGIN VCU_send_task */
	osStatus_t err;
	uint16_t Send_Len;
  /* Infinite loop */
  for(;;)
  {
		err = osMessageQueueGet (usart2_send_semp_queueHandle, &Send_Len, 0, portMAX_DELAY);
		if(err == osOK)
		{
			HAL_UART_Transmit_DMA(&huart2,USART2TxData[UART2_fifo.usTxRead],Send_Len );
			if (++UART2_fifo.usTxRead >= UART2_fifo.usTxBufSize)
			{
				UART2_fifo.usTxRead = 0;
			}
			osDelay(20);
		}
  }
  /* USER CODE END VCU_send_task */
}

void VCU_REC_task(void *argument)
{
  /* USER CODE BEGIN VCU_REC_task */
	osStatus_t err;
	uint16_t Recv_Len;
	//开启串口空闲DMA空闲中断
	HAL_UARTEx_ReceiveToIdle_DMA(&huart2, USART2RxData[UART2_fifo.usRxWrite],USART2_Max_Rxbuf_size);
  /* Infinite loop */
  for(;;)
  {
		err = osMessageQueueGet (usart2_recv_semp_queueHandle, &Recv_Len, 0, portMAX_DELAY);
		if(err == osOK)
		{
			if(Recv_Len != 0) //说明串口发送来的数据
			{
				printf("%s   %d\r\n",USART2RxData[UART2_fifo.usRxRead],Recv_Len);
//				usart2_rec_data_apply(USART2RxData[UART2_fifo.usRxRead],Recv_Len);

				memset(USART2RxData[UART2_fifo.usRxRead],0,Recv_Len);
				if (++UART2_fifo.usRxRead >= UART2_fifo.usRxBufSize)
				{
					UART2_fifo.usRxRead = 0;
				}
			}
			else  //说明只是为了来解除阻塞，以此判断是否超时
				printf("解除阻塞\r\n");
		}
		else //超时处理
		{

		}
  }
  /* USER CODE END VCU_REC_task */
}
